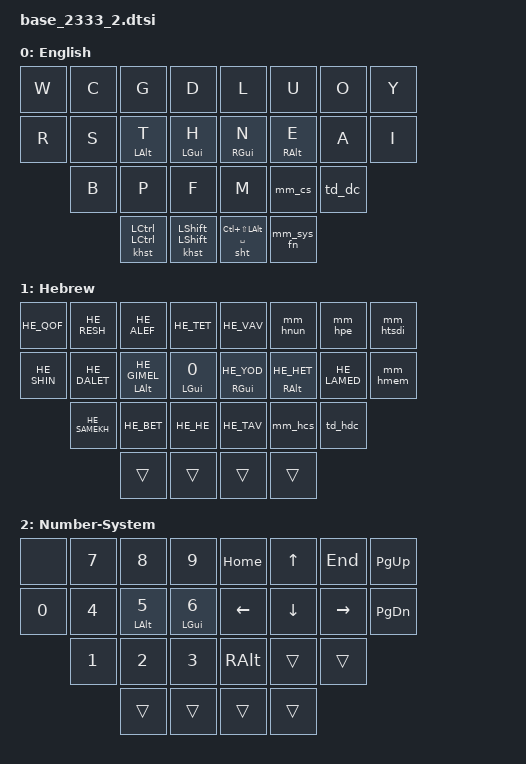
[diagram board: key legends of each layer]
/*
 * Copyright (c) 2020 The ZMK Contributors
 *
 * SPDX-License-Identifier: MIT
 */

#include <behaviors.dtsi>
#include <dt-bindings/zmk/bt.h>
#include <dt-bindings/zmk/keys.h>
#include <dt-bindings/zmk/outputs.h>
#include <dt-bindings/zmk/mouse.h>

// Hebrew Keymap
#include "hebrew.h"

// Extra Keys
#include "shortcut.h"

#define MEH LC(LS(LALT))
#define HYP LC(LS(LA(LGUI)))

// Behaviors Constants
#define long_tap 200
#define short_tap 150

// Combos Constants
#define cmb_lng 80
#define cmb_med 50
#define cmb_fst 20

// Layers
#define ENG     0
#define HEB     1
#define SYS     2
#define FUN     3
#define BLE     4
#define ATB     5

/*
* KEY POSITIONS
*         ╭─────────────────────────╮ ╭─────────────────────────╮
* HIGH:   │  LH4  LH3 LH2 LH1 [LH0] │ │ [RH0] RH1 RH2 RH3  RH4  │
* MIDDLE: │  LM4  LM3 LM2 LM1 [LM0] │ │ [RM0] RM1 RM2 RM3  RM4  │
* LOW:    │ [LL4] LL3 LL2 LL1 [LL0] │ │ [RL0] RL1 RL2 RL3 [RL4] │
* THUMB:  ╰───────────╮   LT1  LT0  │ │  RT0  RT1 ╭─────────────╯
*                     ╰─────────────╯ ╰───────────╯ 
*/

# define KEYS_L LH4 LH3 LH2 LH1 LM4 LM3 LM2 LM1 LL3 LL2 LL1
# define KEYS_R RH1 RH2 RH3 RH4 RM1 RM2 RM3 RM4 RL1 RL2 RL3

#include "_combos.dtsi"
#include "_behaviors.dtsi"
#include "_macros.dtsi"
// #include "_mouse.dtsi"

// Layers
#include "layer_fun.dtsi"
#include "layer_ble.dtsi"
#include "layer_atb.dtsi"

// Behavior Defaults
// Mod-Tap
&mt {
    tapping_term_ms = <200>;
    flavor = "tap-preferred";
};
// Sticky-Key
&sk {
    release-after-ms = <2000>;
    quick-release;
};

&caps_word { continue-list = <BACKSPACE DELETE UNDERSCORE MINUS BSPC DEL N1 N2 N3 N4 N5 N6 N7 N8 N9 N0>; };


/ {
    keymap {
        compatible = "zmk,keymap";
        ENG {
            display-name = "English";
            bindings = <
&kp W   &kp C   &kp G               &kp D                   &kp L           &kp U       &kp O   &kp Y
&kp R   &kp S   &hml LALT T         &hml LGUI H             &hmr RGUI N     &hmr RALT E &kp A   &kp I
        &kp B   &kp P               &kp F                   &kp M           &mm_cs      &td_dc
                &khst LCTRL LCTRL   &khst LSHFT LSHFT       &sht MEH SPACE  &mm_sys_fn
            >;
        };
        HEB {
            display-name = "Hebrew";
            bindings = <
&kp HE_QOF  &kp HE_RESH     &kp HE_ALEF         &kp HE_TET          &kp HE_VAV          &mm_hnun            &mm_hpe         &mm_htsdi
&kp HE_SHIN &kp HE_DALET    &hml LALT HE_GIMEL  &hml_h LGUI 0       &hmr RGUI HE_YOD    &hmr RALT HE_HET    &kp HE_LAMED    &mm_hmem
            &kp HE_SAMEKH   &kp HE_BET          &kp HE_HE           &kp HE_TAV          &mm_hcs             &td_hdc    
                            &trans              &trans              &trans              &trans
            >;
        };

        SYS {
            display-name = "Number-System";
            bindings = <
&none   &kp N7  &kp N8        &kp N9            &kp HOME  &kp UP    &kp END    &kp PG_UP
&kp N0  &kp N4  &hml LALT N5  &hml LGUI N6      &kp LEFT  &kp DOWN  &kp RIGHT  &kp PG_DN
        &kp N1  &kp N2        &kp N3            &kp RALT  &trans    &trans
                &trans        &trans            &trans    &trans
            >;
        };
    };
};
